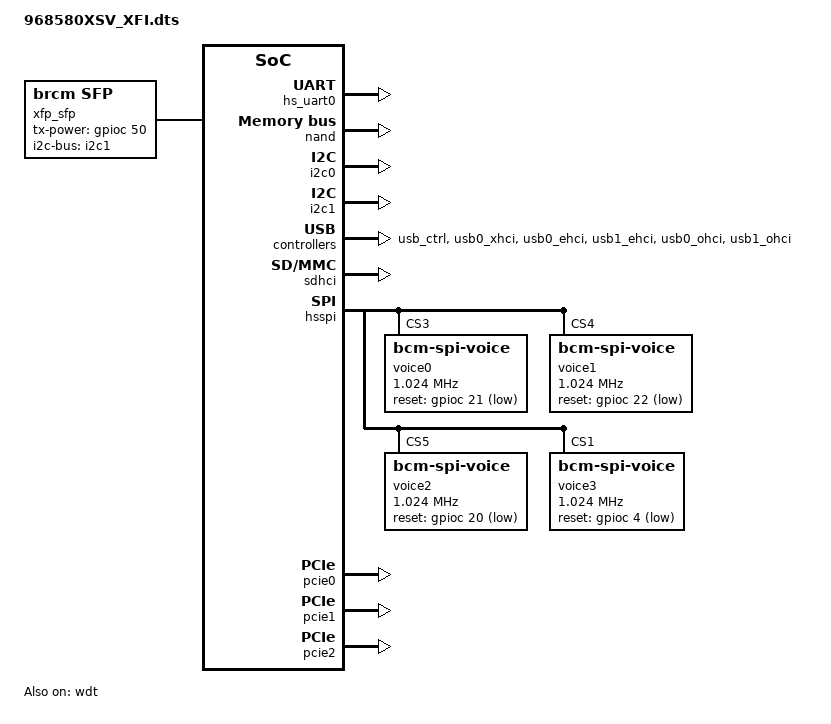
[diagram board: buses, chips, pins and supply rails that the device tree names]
#include "inc/68580.dtsi"
#include "../bcm_voice.dtsi"

/ {
    memory_controller {
        memcfg = <(BP_DDR_SPEED_1067_14_14_14 | \
                   BP_DDR_TOTAL_SIZE_512MB    | \
                   BP_DDR_DEVICE_WIDTH_16     | \
                   BP_DDR_TOTAL_WIDTH_32BIT)>;
    };
};

/ {
    xfp_sfp: xfp_sfp {
        pinctrl-names = "tx-sd";
        pinctrl-0 = <&a_rogue_onu_in_pin_56>;
        compatible = "brcm,sfp";
        i2c-bus = <&i2c1>;
        tx-power-gpio = <&gpioc 50 GPIO_ACTIVE_HIGH>;
    };

    wan_serdes {
            compatible = "brcm,pon-drv";
            trx = <&xfp_sfp>;
            pon-led = <&led8>;
            alarm-led = <&led5>;
    };
};

&hs_uart0 {
    pinctrl-0 = <&b_uart2_sin_pin_16 &b_uart2_sout_pin_17 &b_uart2_cts_pin_18 &b_uart2_rts_pin_19>;
	status = "okay";
};

&serdes_lport {
        lportphy_opt4:opt4 {
                pinctrl-names = "default";
                pinctrl-0 = <&sfp_dserdes0_sig_det_1_pin_58 &sfp_dserdes0_mod_def_1_pin_25>;
                tx-disable = <&gpioc 52 GPIO_ACTIVE_HIGH>;
                status = "okay";
        };
};

&mdio_lport {
        lportphy1:1 {
                status = "okay";
        };

        lportphy2:2 {
                status = "okay";
        };

        lportphy3:3 {
                status = "okay";
        };

        lportphy4:4 {
                status = "okay";
        };

        lportphy7:7 {
                status = "okay";
        };
};

&switch0 {
        pinctrl-names = "default", "rgmii1";
        pinctrl-0 = <&lport_m_mdc_pin_98 &lport_m_mdio_pin_99 &rgmii1_pins>;
        pinctrl-1 = <&rgmii1_pins>;

        ports {
                port0@0 {
                        status = "okay";
                        network-leds = <&led0 &led1>;
                };

                port1@1 {
                        status = "okay";
                        network-leds = <&led3 &led4>;
                };

                port2@2 {
                        status = "okay";
                        network-leds = <&led6 &led7>;
                };

                port3@3 {
                        status = "okay";
                        network-leds = <&led9 &led10>;
                };

                port_xfi4@4 {
                        phy-handle = <&lportphy_opt4>;
                        status = "okay";
                        network-leds = <&led12 &led13>;
                };

                port_rgmii_5@5 {
                        phy-handle = <&lportphy7>;
                        mii-pinctrl-state = "rgmii1";
                        status = "okay";
                        network-leds = <&led15 &led16>;
                };
        };
};

&led_ctrl {
    pinctrl-names = "default";
    pinctrl-0 = <&b_ser_led_clk_pin_30 &b_ser_led_data_pin_29 &b_ser_led_mask_pin_31>;
    serial-shifters-installed = <4>;
     
    led0: port_0-led_0-bit_0 {
              active_low;
              status = "okay";
              link = <LED_SPEED_GBE>;
          };
    led1: port_0-led_1-bit_1 {
              active_low;
              status = "okay";
              activity = <LED_SPEED_GBE>;
          };
    led2: sw_led-bit_2 {
              active_low; 
              brightness = <255>;
              flash_rate = <0>;
              status = "okay";
              label = "WAN";
          };
    led3: port_1-led_0-bit_3 {
              active_low;
              status = "okay";
              link = <LED_SPEED_GBE>;
          };
    led4: port_1-led_1-bit_4 {
              active_low;
              status = "okay";
              activity = <LED_SPEED_GBE>;
          };
    led5: sw_led-bit_5 {
              active_low; 
              brightness = <255>;
              flash_rate = <0>;
              status = "okay";
              label = "OpticalLinkFail";
          };
    led6: port_2-led_0-bit_6 {
              active_low;
              status = "okay";
              link = <LED_SPEED_GBE>;
          };
    led7: port_2-led_1-bit_7 {
              active_low;
              status = "okay";
              activity = <LED_SPEED_GBE>;
          };
    led8: sw_led-bit_8 {
              active_low; 
              brightness = <255>;
              flash_rate = <0>;
              status = "okay";
              label = "PON";
          };
    led9: port_3-led_0-bit_9 {
              active_low;
              status = "okay";
              link = <LED_SPEED_GBE>;
          };
    led10: port_3-led_1-bit_10 {
               active_low;
               status = "okay";
               activity = <LED_SPEED_GBE>;
          };
    led11: sw_led-bit_11 {
              active_low; 
              brightness = <0>;
              flash_rate = <0>;
              status = "okay";
              label = "VOIP_1";
          };
    led12: port_4-led_0-bit_12 {
              active_low;
              status = "okay";
              link = <LED_SPEED_ALL>;
          };
    led13: port_4-led_1-bit_13 {
              active_low;
              status = "okay";
              activity= <LED_SPEED_ALL>;
          };
    led14: sw_led-bit_14 {
              active_low; 
              brightness = <0>;
              flash_rate = <0>;
              status = "okay";
          };
    led15: port_5-led_0-bit_15 {
              active_low;
              status = "okay";
              link = <LED_SPEED_ALL>;
          };
    led16: port_5-led_1-bit_16 {
              active_low;
              status = "okay";
              activity= <LED_SPEED_ALL>;
          };
};

&legacy_leds {
    wan-data-led = <&led2>;
    voip1-ok-led = <&led11>;
    voip2-ok-led = <&led14>;
};

&nand {
	status = "okay";
};
&wdt {
	status = "okay";
};
&i2c0 {
    status = "okay";
};
&i2c1 {
    pinctrl-0 = <&i2c_2_scl_pin_23 &i2c_2_sda_pin_24>;
    pinctrl-names = "default";
    status = "okay";
};
&usb_ctrl {
	status = "okay";
    xhci-enable;
    pinctrl-names = "default";
    pinctrl-0 = <&usb0_pwr_pins &usb1_pwr_pins>;
};
&usb0_xhci {
	status = "okay";
};
&usb0_ehci {
	status = "okay";
};
&usb1_ehci {
	status = "okay";
};
&usb0_ohci {
	status = "okay";
};
&usb1_ohci {
	status = "okay";
};
&sdhci {
	status = "okay";
};
&hsspi {
	status = "okay";
	voice0 {
		pinctrl-0 = <&a_spim_ss3_b_pin_13>;
		pinctrl-names = "default";
		compatible = "bcm-spi-voice";
		reg = <3>; /* chip select 3 */
		spi-max-frequency = <1024000>;
		reset-gpio = <&gpioc 21 GPIO_ACTIVE_LOW>;
		spi-index = <0>;
	};
	voice1 {
		pinctrl-0 = <&a_spim_ss4_b_pin_12>;
		pinctrl-names = "default";
		compatible = "bcm-spi-voice";
		reg = <4>; /* chip select 4 */
		spi-max-frequency = <1024000>;
		reset-gpio = <&gpioc 22 GPIO_ACTIVE_LOW>;
		spi-index = <1>;
	};
	voice2 {
		pinctrl-0 = <&a_spim_ss5_b_pin_11>;
		pinctrl-names = "default";
		compatible = "bcm-spi-voice";
		reg = <5>; /* chip select 5 */
		spi-max-frequency = <1024000>;
		reset-gpio = <&gpioc 20 GPIO_ACTIVE_LOW>;
		spi-index = <2>;
	};
	voice3 {
		pinctrl-0 = <&spim_ss1_b_pin_106>;
		pinctrl-names = "default";
		compatible = "bcm-spi-voice";
		reg = <1>; /* chip select 1 */
		spi-max-frequency = <1024000>;
		reset-gpio = <&gpioc 4 GPIO_ACTIVE_LOW>;
		spi-index = <3>;
	};
};

&pcie0 {
	status = "okay";
};
&pcie1 {
	status = "okay";
};
&pcie2 {
	status = "okay";
};
&bcm_voice{
	sliclist = SLICSLAC_LIST_COMMON_NOFXO;
 };

